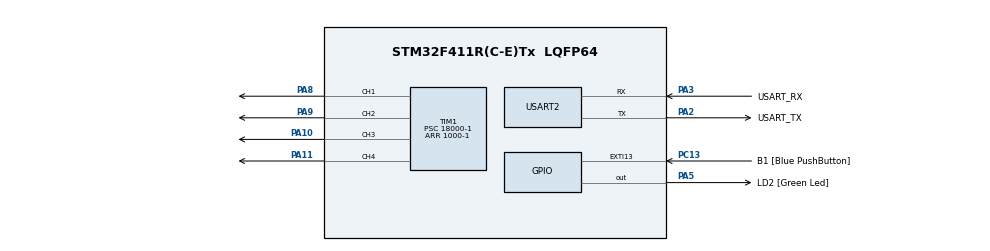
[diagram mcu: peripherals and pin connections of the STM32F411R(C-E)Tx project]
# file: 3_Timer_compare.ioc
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Mcu.Family=STM32F4
Mcu.Name=STM32F411R(C-E)Tx
Mcu.Package=LQFP64
NVIC.PriorityGroup=NVIC_PRIORITYGROUP_0
NVIC.TIM1_CC_IRQn=true\:0\:1\:false\:false\:true\:true\:true\:true
PA10.Signal=S_TIM1_CH3
PA11.Signal=S_TIM1_CH4
PA13.GPIO_Label=TMS
PA13.Mode=Serial_Wire
PA13.Signal=SYS_JTMS-SWDIO
PA14.GPIO_Label=TCK
PA14.Mode=Serial_Wire
PA14.Signal=SYS_JTCK-SWCLK
PA2.GPIO_Label=USART_TX
PA2.Mode=Asynchronous
PA2.Signal=USART2_TX
PA3.GPIO_Label=USART_RX
PA3.Mode=Asynchronous
PA3.Signal=USART2_RX
PA5.GPIO_Label=LD2 [Green Led]
PA5.Signal=GPIO_Output
PA8.Signal=S_TIM1_CH1
PA9.Signal=S_TIM1_CH2
PB3.GPIO_Label=SWO
PB3.Signal=SYS_JTDO-SWO
PC13-ANTI_TAMP.GPIO_Label=B1 [Blue PushButton]
PC13-ANTI_TAMP.GPIO_ModeDefaultEXTI=GPIO_MODE_IT_FALLING
PC13-ANTI_TAMP.Signal=GPXTI13
PC14-OSC32_IN.Mode=LSE-External-Oscillator
PC14-OSC32_IN.Signal=RCC_OSC32_IN
PC15-OSC32_OUT.Mode=LSE-External-Oscillator
PC15-OSC32_OUT.Signal=RCC_OSC32_OUT
PH0\ -\ OSC_IN.Mode=HSE-External-Clock-Source
PH0\ -\ OSC_IN.Signal=RCC_OSC_IN
PH1\ -\ OSC_OUT.Mode=HSE-External-Clock-Source
PH1\ -\ OSC_OUT.Signal=RCC_OSC_OUT
ProjectManager.HeapSize=0x200
ProjectManager.StackSize=0x400
ProjectManager.TargetToolchain=STM32CubeIDE
RCC.48MHZClocksFreq_Value=36000000
RCC.AHBFreq_Value=72000000
RCC.APB1CLKDivider=RCC_HCLK_DIV2
RCC.APB1Freq_Value=36000000
RCC.APB1TimFreq_Value=72000000
RCC.APB2CLKDivider=RCC_HCLK_DIV4
RCC.APB2Freq_Value=18000000
RCC.APB2TimFreq_Value=36000000
RCC.CortexFreq_Value=72000000
RCC.HCLKFreq_Value=72000000
RCC.PLLM=4
RCC.PLLN=72
RCC.PLLSourceVirtual=RCC_PLLSOURCE_HSE
RCC.SYSCLKFreq_VALUE=72000000
RCC.SYSCLKSource=RCC_SYSCLKSOURCE_PLLCLK
RCC.VCOOutputFreq_Value=144000000
SH.S_TIM1_CH1.0=TIM1_CH1,Output Compare1 CH1
SH.S_TIM1_CH2.0=TIM1_CH2,Output Compare2 CH2
SH.S_TIM1_CH3.0=TIM1_CH3,Output Compare3 CH3
SH.S_TIM1_CH4.0=TIM1_CH4,Output Compare4 CH4
TIM1.AutoReloadPreload=TIM_AUTORELOAD_PRELOAD_ENABLE
TIM1.Channel-Output\ Compare1\ CH1=TIM_CHANNEL_1
TIM1.Channel-Output\ Compare2\ CH2=TIM_CHANNEL_2
TIM1.Channel-Output\ Compare3\ CH3=TIM_CHANNEL_3
TIM1.Channel-Output\ Compare4\ CH4=TIM_CHANNEL_4
TIM1.OCMode_1=TIM_OCMODE_TOGGLE
TIM1.OCMode_2=TIM_OCMODE_TOGGLE
TIM1.OCMode_3=TIM_OCMODE_TOGGLE
TIM1.OCMode_4=TIM_OCMODE_TOGGLE
TIM1.Period=1000-1
TIM1.Prescaler=18000-1
TIM1.Pulse-Output\ Compare1\ CH1=250-1
TIM1.Pulse-Output\ Compare2\ CH2=500-1
TIM1.Pulse-Output\ Compare3\ CH3=750-1
TIM1.Pulse-Output\ Compare4\ CH4=1000-1
USART2.VirtualMode=VM_ASYNC
VP_TIM1_VS_ClockSourceINT.Mode=Internal
board=NUCLEO-F411RE

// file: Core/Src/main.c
/* USER CODE BEGIN Header */
/**
  ******************************************************************************
  * @file           : main.c
  * @brief          : Main program body
  ******************************************************************************
  * @attention
  *
  * Copyright (c) 2025 STMicroelectronics.
  * All rights reserved.
  *
  * This software is licensed under terms that can be found in the LICENSE file
  * in the root directory of this software component.
  * If no LICENSE file comes with this software, it is provided AS-IS.
  *
  ******************************************************************************
  */
/* USER CODE END Header */
#include "main.h"

/* USER CODE BEGIN Includes */
#include <stdio.h>
/* USER CODE END Includes */

TIM_HandleTypeDef htim1;

UART_HandleTypeDef huart2;

void SystemClock_Config(void);
static void MX_GPIO_Init(void);
static void MX_USART2_UART_Init(void);
static void MX_TIM1_Init(void);
/* USER CODE BEGIN PFP */
int __io_putchar(int ch)
{
	HAL_UART_Transmit(&huart2, (uint8_t*)&ch, 1, 0xFFFF);
	return ch;
}
/* USER CODE END PFP */

int main(void)
{

  /* USER CODE BEGIN 1 */
//	float volt = 0.0;
  /* USER CODE END 1 */

  /* MCU Configuration--------------------------------------------------------*/

  /* Reset of all peripherals, Initializes the Flash interface and the Systick. */
  HAL_Init();

  /* Configure the system clock */
  SystemClock_Config();

  /* Initialize all configured peripherals */
  MX_GPIO_Init();
  MX_USART2_UART_Init();
  MX_TIM1_Init();
  /* USER CODE BEGIN 2 */
  HAL_TIM_OC_Start(&htim1, TIM_CHANNEL_1);
  HAL_TIM_OC_Start(&htim1, TIM_CHANNEL_2);
  HAL_TIM_OC_Start(&htim1, TIM_CHANNEL_3);
  HAL_TIM_OC_Start(&htim1, TIM_CHANNEL_4);

  printf("\n\r TIM1 test start!");
  /* USER CODE END 2 */

  /* Infinite loop */
  while (1)
  {

  }
}

void SystemClock_Config(void)
{
  RCC_OscInitTypeDef RCC_OscInitStruct = {0};
  RCC_ClkInitTypeDef RCC_ClkInitStruct = {0};

  /** Configure the main internal regulator output voltage
  */
  __HAL_RCC_PWR_CLK_ENABLE();
  __HAL_PWR_VOLTAGESCALING_CONFIG(PWR_REGULATOR_VOLTAGE_SCALE1);

  /** Initializes the RCC Oscillators according to the specified parameters
  * in the RCC_OscInitTypeDef structure.
  */
  RCC_OscInitStruct.OscillatorType = RCC_OSCILLATORTYPE_HSE;
  RCC_OscInitStruct.HSEState = RCC_HSE_BYPASS;
  RCC_OscInitStruct.PLL.PLLState = RCC_PLL_ON;
  RCC_OscInitStruct.PLL.PLLSource = RCC_PLLSOURCE_HSE;
  RCC_OscInitStruct.PLL.PLLM = 4;
  RCC_OscInitStruct.PLL.PLLN = 72;
  RCC_OscInitStruct.PLL.PLLP = RCC_PLLP_DIV2;
  RCC_OscInitStruct.PLL.PLLQ = 4;
  if (HAL_RCC_OscConfig(&RCC_OscInitStruct) != HAL_OK)
  {
    Error_Handler();
  }

  /** Initializes the CPU, AHB and APB buses clocks
  */
  RCC_ClkInitStruct.ClockType = RCC_CLOCKTYPE_HCLK|RCC_CLOCKTYPE_SYSCLK
                              |RCC_CLOCKTYPE_PCLK1|RCC_CLOCKTYPE_PCLK2;
  RCC_ClkInitStruct.SYSCLKSource = RCC_SYSCLKSOURCE_PLLCLK;
  RCC_ClkInitStruct.AHBCLKDivider = RCC_SYSCLK_DIV1;
  RCC_ClkInitStruct.APB1CLKDivider = RCC_HCLK_DIV2;
  RCC_ClkInitStruct.APB2CLKDivider = RCC_HCLK_DIV4;

  if (HAL_RCC_ClockConfig(&RCC_ClkInitStruct, FLASH_LATENCY_2) != HAL_OK)
  {
    Error_Handler();
  }
}

static void MX_TIM1_Init(void)
{

  TIM_ClockConfigTypeDef sClockSourceConfig = {0};
  TIM_MasterConfigTypeDef sMasterConfig = {0};
  TIM_OC_InitTypeDef sConfigOC = {0};
  TIM_BreakDeadTimeConfigTypeDef sBreakDeadTimeConfig = {0};

  htim1.Instance = TIM1;
  htim1.Init.Prescaler = 18000-1;
  htim1.Init.CounterMode = TIM_COUNTERMODE_UP;
  htim1.Init.Period = 1000-1;
  htim1.Init.ClockDivision = TIM_CLOCKDIVISION_DIV1;
  htim1.Init.RepetitionCounter = 0;
  htim1.Init.AutoReloadPreload = TIM_AUTORELOAD_PRELOAD_ENABLE;
  if (HAL_TIM_Base_Init(&htim1) != HAL_OK)
  {
    Error_Handler();
  }
  sClockSourceConfig.ClockSource = TIM_CLOCKSOURCE_INTERNAL;
  if (HAL_TIM_ConfigClockSource(&htim1, &sClockSourceConfig) != HAL_OK)
  {
    Error_Handler();
  }
  if (HAL_TIM_OC_Init(&htim1) != HAL_OK)
  {
    Error_Handler();
  }
  sMasterConfig.MasterOutputTrigger = TIM_TRGO_RESET;
  sMasterConfig.MasterSlaveMode = TIM_MASTERSLAVEMODE_DISABLE;
  if (HAL_TIMEx_MasterConfigSynchronization(&htim1, &sMasterConfig) != HAL_OK)
  {
    Error_Handler();
  }
  sConfigOC.OCMode = TIM_OCMODE_TOGGLE;
  sConfigOC.Pulse = 250-1;
  sConfigOC.OCPolarity = TIM_OCPOLARITY_HIGH;
  sConfigOC.OCNPolarity = TIM_OCNPOLARITY_HIGH;
  sConfigOC.OCFastMode = TIM_OCFAST_DISABLE;
  sConfigOC.OCIdleState = TIM_OCIDLESTATE_RESET;
  sConfigOC.OCNIdleState = TIM_OCNIDLESTATE_RESET;
  if (HAL_TIM_OC_ConfigChannel(&htim1, &sConfigOC, TIM_CHANNEL_1) != HAL_OK)
  {
    Error_Handler();
  }
  sConfigOC.Pulse = 500-1;
  if (HAL_TIM_OC_ConfigChannel(&htim1, &sConfigOC, TIM_CHANNEL_2) != HAL_OK)
  {
    Error_Handler();
  }
  sConfigOC.Pulse = 750-1;
  if (HAL_TIM_OC_ConfigChannel(&htim1, &sConfigOC, TIM_CHANNEL_3) != HAL_OK)
  {
    Error_Handler();
  }
  sConfigOC.Pulse = 1000-1;
  if (HAL_TIM_OC_ConfigChannel(&htim1, &sConfigOC, TIM_CHANNEL_4) != HAL_OK)
  {
    Error_Handler();
  }
  sBreakDeadTimeConfig.OffStateRunMode = TIM_OSSR_DISABLE;
  sBreakDeadTimeConfig.OffStateIDLEMode = TIM_OSSI_DISABLE;
  sBreakDeadTimeConfig.LockLevel = TIM_LOCKLEVEL_OFF;
  sBreakDeadTimeConfig.DeadTime = 0;
  sBreakDeadTimeConfig.BreakState = TIM_BREAK_DISABLE;
  sBreakDeadTimeConfig.BreakPolarity = TIM_BREAKPOLARITY_HIGH;
  sBreakDeadTimeConfig.AutomaticOutput = TIM_AUTOMATICOUTPUT_DISABLE;
  if (HAL_TIMEx_ConfigBreakDeadTime(&htim1, &sBreakDeadTimeConfig) != HAL_OK)
  {
    Error_Handler();
  }
  HAL_TIM_MspPostInit(&htim1);

}

static void MX_USART2_UART_Init(void)
{

  huart2.Instance = USART2;
  huart2.Init.BaudRate = 115200;
  huart2.Init.WordLength = UART_WORDLENGTH_8B;
  huart2.Init.StopBits = UART_STOPBITS_1;
  huart2.Init.Parity = UART_PARITY_NONE;
  huart2.Init.Mode = UART_MODE_TX_RX;
  huart2.Init.HwFlowCtl = UART_HWCONTROL_NONE;
  huart2.Init.OverSampling = UART_OVERSAMPLING_16;
  if (HAL_UART_Init(&huart2) != HAL_OK)
  {
    Error_Handler();
  }

}

static void MX_GPIO_Init(void)
{
  GPIO_InitTypeDef GPIO_InitStruct = {0};

  /* GPIO Ports Clock Enable */
  __HAL_RCC_GPIOC_CLK_ENABLE();
  __HAL_RCC_GPIOH_CLK_ENABLE();
  __HAL_RCC_GPIOA_CLK_ENABLE();
  __HAL_RCC_GPIOB_CLK_ENABLE();

  /*Configure GPIO pin Output Level */
  HAL_GPIO_WritePin(LD2_GPIO_Port, LD2_Pin, GPIO_PIN_RESET);

  /*Configure GPIO pin : B1_Pin */
  GPIO_InitStruct.Pin = B1_Pin;
  GPIO_InitStruct.Mode = GPIO_MODE_IT_FALLING;
  GPIO_InitStruct.Pull = GPIO_NOPULL;
  HAL_GPIO_Init(B1_GPIO_Port, &GPIO_InitStruct);

  /*Configure GPIO pin : LD2_Pin */
  GPIO_InitStruct.Pin = LD2_Pin;
  GPIO_InitStruct.Mode = GPIO_MODE_OUTPUT_PP;
  GPIO_InitStruct.Pull = GPIO_NOPULL;
  GPIO_InitStruct.Speed = GPIO_SPEED_FREQ_LOW;
  HAL_GPIO_Init(LD2_GPIO_Port, &GPIO_InitStruct);

}

/* USER CODE BEGIN 4 */
void HAL_TIM_OC_DelayElapsedCallback(TIM_HandleTypeDef *htim)
{
    if (htim->Instance == TIM1)
    {
        if (htim->Channel == HAL_TIM_ACTIVE_CHANNEL_1)
        {
            HAL_GPIO_TogglePin(LD2_GPIO_Port, LD2_Pin);  // LED 토글
            printf("CH1 triggered at 250ms\n");
        }
        else if (htim->Channel == HAL_TIM_ACTIVE_CHANNEL_2)
        {
            printf("CH2 triggered at 500ms\n");
        }
        else if (htim->Channel == HAL_TIM_ACTIVE_CHANNEL_3)
        {
            printf("CH3 triggered at 750ms\n");
        }
        else if (htim->Channel == HAL_TIM_ACTIVE_CHANNEL_4)
        {
            printf("CH4 triggered at 1000ms\n");
        }
    }
}
/* USER CODE END 4 */

void Error_Handler(void)
{
  __disable_irq();
  while (1)
  {
  }
}
